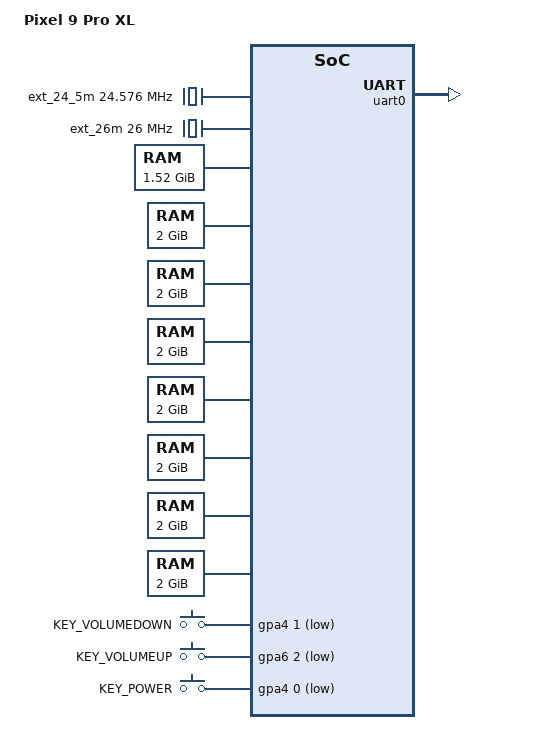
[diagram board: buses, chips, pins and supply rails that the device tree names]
// SPDX-License-Identifier: GPL-2.0
/*
 * Minimal U-Boot bring-up device tree for Pixel 9 Pro XL (komodo)
 */

/dts-v1/;

#include <dt-bindings/clock/google,zuma.h>
#include <dt-bindings/gpio/gpio.h>
#include <linux/input.h>

/ {
	model = "Pixel 9 Pro XL";
	compatible = "google,komodo", "google,zumapro-komodo", "google,zumapro";
	#address-cells = <2>;
	#size-cells = <1>;

	aliases {
		pinctrl0 = &pinctrl_gpio_alive;
		pinctrl1 = &pinctrl_gpio_custom_alive;
		serial0 = &uart0;
	};

	ext_24_5m: clock-1 {
		compatible = "fixed-clock";
		#clock-cells = <0>;
		clock-output-names = "oscclk";
		clock-frequency = <24576000>;
	};

	ext_26m: clock-3 {
		compatible = "fixed-clock";
		#clock-cells = <0>;
		clock-output-names = "ext-26m";
		clock-frequency = <26000000>;
	};

	chosen {
		#address-cells = <2>;
		#size-cells = <1>;
		stdout-path = "serial0:115200n8";

		framebuffer@fac00000 {
			compatible = "simple-framebuffer";
			reg = <0x0 0xfac00000 0x00f5a000>;
			width = <1344>;
			height = <2992>;
			stride = <5376>;
			format = "a8r8g8b8";
		};
	};

	timer {
		compatible = "arm,armv8-timer";
		clock-frequency = <26000000>;
	};

	memory@b80000000 {
		device_type = "memory";
		reg = <0x0b 0x80000000 0x60f83000>;
	};

	memory@b00000000 {
		device_type = "memory";
		reg = <0x0b 0x00000000 0x80000000>;
	};

	memory@a80000000 {
		device_type = "memory";
		reg = <0x0a 0x80000000 0x80000000>;
	};

	memory@a00000000 {
		device_type = "memory";
		reg = <0x0a 0x00000000 0x80000000>;
	};

	memory@980000000 {
		device_type = "memory";
		reg = <0x09 0x80000000 0x80000000>;
	};

	memory@900000000 {
		device_type = "memory";
		reg = <0x09 0x00000000 0x80000000>;
	};

	memory@880000000 {
		device_type = "memory";
		reg = <0x08 0x80000000 0x80000000>;
	};

	memory@80000000 {
		device_type = "memory";
		reg = <0x00 0x80000000 0x80000000>;
	};

	uart0: uart@10870000 {
		compatible = "google,gs101-uart";
		reg = <0x0 0x10870000 0xc0>;
		clocks = <&cmu_peric0 CLK_GOUT_PERIC0_PERIC0_TOP1_PCLK_0>,
			 <&cmu_peric0 CLK_GOUT_PERIC0_PERIC0_TOP1_IPCLK_0>;
		clock-names = "uart", "clk_uart_baud0";
		reg-io-width = <4>;
		clock-frequency = <24576000>;
		skip-init;
		status = "okay";
	};

	gpio-keys {
		compatible = "gpio-keys";
		pinctrl-0 = <&key_voldown>, <&key_volup>, <&key_power>;
		pinctrl-names = "default";

		button-vol-down {
			label = "KEY_VOLUMEDOWN";
			linux,code = <KEY_VOLUMEDOWN>;
			gpios = <&gpa4 1 GPIO_ACTIVE_LOW>;
		};

		button-vol-up {
			label = "KEY_VOLUMEUP";
			linux,code = <KEY_VOLUMEUP>;
			gpios = <&gpa6 2 GPIO_ACTIVE_LOW>;
		};

		button-power {
			label = "KEY_POWER";
			linux,code = <KEY_POWER>;
			gpios = <&gpa4 0 GPIO_ACTIVE_LOW>;
		};
	};

	pinctrl_gpio_alive: pinctrl@154d0000 {
		compatible = "google,zuma-pinctrl";
		reg = <0x0 0x154d0000 0x1000>;
		clocks = <&cmu_apm CLK_GOUT_APM_APBIF_GPIO_ALIVE_PCLK>;
		clock-names = "pclk";

		gpa0: gpa0-gpio-bank { gpio-controller; #gpio-cells = <2>; };
		gpa1: gpa1-gpio-bank { gpio-controller; #gpio-cells = <2>; };
		gpa2: gpa2-gpio-bank { gpio-controller; #gpio-cells = <2>; };
		gpa3: gpa3-gpio-bank { gpio-controller; #gpio-cells = <2>; };
		gpa4: gpa4-gpio-bank { gpio-controller; #gpio-cells = <2>; };
		gpa6: gpa6-gpio-bank { gpio-controller; #gpio-cells = <2>; };
		gpa7: gpa7-gpio-bank { gpio-controller; #gpio-cells = <2>; };
		gpa8: gpa8-gpio-bank { gpio-controller; #gpio-cells = <2>; };
		gpa9: gpa9-gpio-bank { gpio-controller; #gpio-cells = <2>; };
		gpa10: gpa10-gpio-bank { gpio-controller; #gpio-cells = <2>; };

		key_voldown: key-voldown-pins {
			samsung,pins = "gpa4-1";
			samsung,pin-function = <0xf>;
			samsung,pin-pud = <0>;
			samsung,pin-drv = <0>;
		};

		key_volup: key-volup-pins {
			samsung,pins = "gpa6-2";
			samsung,pin-function = <0xf>;
			samsung,pin-pud = <0>;
			samsung,pin-drv = <0>;
		};

		key_power: key-power-pins {
			samsung,pins = "gpa4-0";
			samsung,pin-function = <0xf>;
			samsung,pin-pud = <3>;
			samsung,pin-drv = <0>;
		};
	};

	pinctrl_gpio_custom_alive: pinctrl@15060000 {
		compatible = "google,zuma-pinctrl";
		reg = <0x0 0x15060000 0x1000>;
		clocks = <&cmu_apm CLK_GOUT_APM_APBIF_GPIO_ALIVE_PCLK>;
		clock-names = "pclk";

		gpn0: gpn0-gpio-bank { gpio-controller; #gpio-cells = <2>; };
		gpn1: gpn1-gpio-bank { gpio-controller; #gpio-cells = <2>; };
		gpn2: gpn2-gpio-bank { gpio-controller; #gpio-cells = <2>; };
		gpn3: gpn3-gpio-bank { gpio-controller; #gpio-cells = <2>; };
		gpn4: gpn4-gpio-bank { gpio-controller; #gpio-cells = <2>; };
		gpn5: gpn5-gpio-bank { gpio-controller; #gpio-cells = <2>; };
		gpn6: gpn6-gpio-bank { gpio-controller; #gpio-cells = <2>; };
		gpn7: gpn7-gpio-bank { gpio-controller; #gpio-cells = <2>; };
		gpn8: gpn8-gpio-bank { gpio-controller; #gpio-cells = <2>; };
		gpn9: gpn9-gpio-bank { gpio-controller; #gpio-cells = <2>; };
	};

	cmu_misc: clock-controller@10010000 {
		compatible = "google,zuma-cmu-misc";
		reg = <0x0 0x10010000 0x10000>;
		#clock-cells = <1>;
		clocks = <&cmu_top CLK_DOUT_CMU_MISC_BUS>,
			 <&cmu_top CLK_DOUT_CMU_MISC_SSS>;
		clock-names = "bus", "sss";
		samsung,sysreg = <&sysreg_misc>;
	};

	sysreg_misc: syscon@10030000 {
		compatible = "google,gs101-misc-sysreg", "syscon";
		reg = <0x0 0x10030000 0x10000>;
		clocks = <&cmu_misc CLK_GOUT_MISC_SYSREG_MISC_PCLK>;
	};

	cmu_peric0: clock-controller@10800000 {
		compatible = "google,zuma-cmu-peric0";
		reg = <0x0 0x10800000 0x10000>;
		#clock-cells = <1>;
		clocks = <&ext_24_5m>,
			 <&cmu_top CLK_DOUT_CMU_PERIC0_BUS>,
			 <&cmu_top CLK_DOUT_CMU_PERIC0_IP>;
		clock-names = "oscclk", "bus", "ip";
		samsung,sysreg = <&sysreg_peric0>;
	};

	sysreg_peric0: syscon@10820000 {
		compatible = "google,gs101-peric0-sysreg", "syscon";
		reg = <0x0 0x10820000 0x10000>;
		clocks = <&cmu_peric0 CLK_GOUT_PERIC0_SYSREG_PERIC0_PCLK>;
	};

	cmu_peric1: clock-controller@10c00000 {
		compatible = "google,zuma-cmu-peric1";
		reg = <0x0 0x10c00000 0x10000>;
		#clock-cells = <1>;
		clocks = <&ext_24_5m>,
			 <&cmu_top CLK_DOUT_CMU_PERIC1_BUS>,
			 <&cmu_top CLK_DOUT_CMU_PERIC1_IP>;
		clock-names = "oscclk", "bus", "ip";
		samsung,sysreg = <&sysreg_peric1>;
	};

	sysreg_peric1: syscon@10c20000 {
		compatible = "google,gs101-peric1-sysreg", "syscon";
		reg = <0x0 0x10c20000 0x10000>;
		clocks = <&cmu_peric1 CLK_GOUT_PERIC1_SYSREG_PERIC1_PCLK>;
	};

	cmu_hsi0: clock-controller@11000000 {
		compatible = "google,zuma-cmu-hsi0";
		reg = <0x0 0x11000000 0x10000>;
		#clock-cells = <1>;
		clocks = <&ext_24_5m>,
			 <&cmu_top CLK_DOUT_CMU_HSI0_BUS>,
			 <&cmu_top CLK_DOUT_CMU_HSI0_DPGTC>,
			 <&cmu_top CLK_DOUT_CMU_HSI0_USB31DRD>,
			 <&cmu_top CLK_DOUT_CMU_HSI0_USBDPDBG>;
		clock-names = "oscclk", "bus", "dpgtc", "usb31drd",
			      "usbdpdbg";
		samsung,sysreg = <&sysreg_hsi0>;
	};

	sysreg_hsi0: syscon@11020000 {
		compatible = "google,gs101-hsi0-sysreg", "syscon";
		reg = <0x0 0x11020000 0x10000>;
		clocks = <&cmu_hsi0 CLK_GOUT_HSI0_SYSREG_HSI0_PCLK>;
	};

	cmu_hsi2: clock-controller@13000000 {
		compatible = "google,zuma-cmu-hsi2";
		reg = <0x0 0x13000000 0x10000>;
		#clock-cells = <1>;
		clocks = <&ext_24_5m>,
			 <&cmu_top CLK_DOUT_CMU_HSI2_BUS>,
			 <&cmu_top CLK_DOUT_CMU_HSI2_PCIE>,
			 <&cmu_top CLK_DOUT_CMU_HSI2_UFS_EMBD>,
			 <&cmu_top CLK_DOUT_CMU_HSI2_MMC_CARD>;
		clock-names = "oscclk", "bus", "pcie", "ufs", "mmc";
		samsung,sysreg = <&sysreg_hsi2>;
	};

	sysreg_hsi2: syscon@13020000 {
		compatible = "google,gs101-hsi2-sysreg", "syscon";
		reg = <0x0 0x13020000 0x10000>;
		clocks = <&cmu_hsi2 CLK_GOUT_HSI2_SYSREG_HSI2_PCLK>;
	};

	cmu_apm: clock-controller@15400000 {
		compatible = "google,zuma-cmu-apm";
		reg = <0x0 0x15400000 0x10000>;
		#clock-cells = <1>;
		clocks = <&ext_24_5m>;
		clock-names = "oscclk";
		samsung,sysreg = <&sysreg_apm>;
	};

	sysreg_apm: syscon@15420000 {
		compatible = "google,zuma-apm-sysreg", "syscon";
		reg = <0x0 0x15420000 0x10000>;
	};

	cmu_dpu: clock-controller@19400000 {
		compatible = "google,zuma-cmu-dpu";
		reg = <0x0 0x19400000 0x10000>;
		#clock-cells = <1>;
		clocks = <&ext_26m>,
			 <&cmu_top CLK_DOUT_CMU_DPU_BUS>,
			 <&cmu_top CLK_DOUT_CMU_SHARED0_DIV4>;
		clock-names = "oscclk", "bus", "dsim";
		samsung,sysreg = <&sysreg_dpu>;
	};

	sysreg_dpu: syscon@19420000 {
		compatible = "google,gs101-dpu-sysreg", "syscon";
		reg = <0x0 0x19420000 0x10000>;
		clocks = <&cmu_dpu CLK_GOUT_DPU_SYSREG_DPU_PCLK>;
	};

	cmu_top: clock-controller@26040000 {
		compatible = "google,zuma-cmu-top";
		reg = <0x0 0x26040000 0x10000>;
		#clock-cells = <1>;
		clocks = <&ext_24_5m>;
		clock-names = "oscclk";
	};
};
